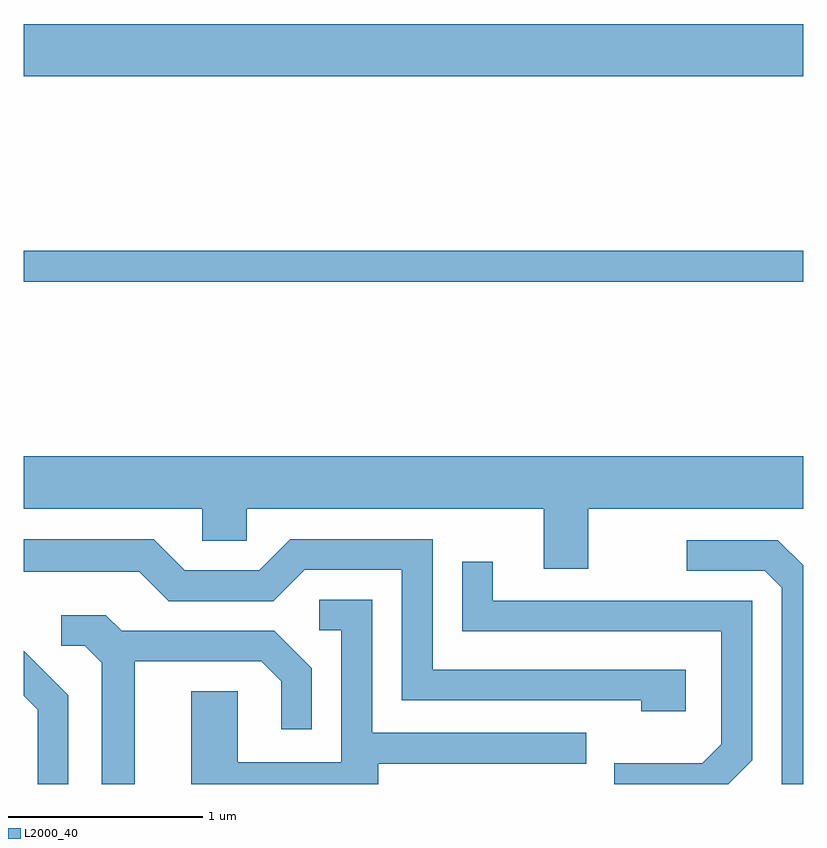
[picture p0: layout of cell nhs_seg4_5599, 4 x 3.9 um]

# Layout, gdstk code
import gdstk
lib = gdstk.Library(unit=1e-6, precision=1e-09)
def R(c, l, rs):  # rectangles x0, y0, x1, y1
    for r in rs: c.add(gdstk.rectangle(r[:2], r[2:], *l))
def P(c, l, *ps):  # polygons
    for p in ps: c.add(gdstk.Polygon(p, *l))
L2000_40 = (2000, 40)

nhs_seg4_5599 = lib.new_cell('nhs_seg4_5599')
R(nhs_seg4_5599, L2000_40, [(349.611,1302.561,353.611,1302.719), (349.611,1303.616,353.611,1303.884)])
P(nhs_seg4_5599, L2000_40, [(352.509,1301.396),(353.611,1301.396),(353.611,1301.664),(349.611,1301.664),(349.611,1301.396),(350.526,1301.396),(350.526,1301.231),(350.754,1301.231),(350.754,1301.396),(352.281,1301.396),(352.281,1301.086),(352.509,1301.086)],
  [(353.009,1300.569),(351.709,1300.569),(351.709,1301.239),(350.979,1301.239),(350.819,1301.079),(350.437,1301.079),(350.277,1301.239),(349.611,1301.239),(349.611,1301.071),(350.204,1301.071),(350.354,1300.921),(350.892,1300.921),(351.052,1301.081),(351.551,1301.081),(351.551,1300.411),(352.781,1300.411),(352.781,1300.356),(353.009,1300.356)],
  [(353.611,1301.105),(353.482,1301.234),(353.013,1301.234),(353.013,1301.076),(353.414,1301.076),(353.501,1300.989),(353.501,1299.982),(353.611,1299.982)],
  [(353.349,1300.104),(353.349,1300.924),(352.019,1300.924),(352.019,1301.123),(351.861,1301.123),(351.861,1300.766),(353.191,1300.766),(353.191,1300.187),(353.094,1300.089),(352.641,1300.089),(352.641,1299.982),(353.228,1299.982)],
  [(351.429,1300.086),(352.498,1300.086),(352.498,1300.244),(351.399,1300.244),(351.399,1300.929),(351.128,1300.929),(351.128,1300.771),(351.241,1300.771),(351.241,1300.094),(350.709,1300.094),(350.709,1300.459),(350.471,1300.459),(350.471,1299.982),(351.429,1299.982)],
  [(350.179,1300.611),(350.829,1300.611),(350.931,1300.509),(350.931,1300.263),(351.089,1300.263),(351.089,1300.577),(350.897,1300.769),(350.112,1300.769),(350.032,1300.849),(349.803,1300.849),(349.803,1300.691),(349.924,1300.691),(350.011,1300.604),(350.011,1299.982),(350.179,1299.982)],
  [(349.839,1300.437),(349.611,1300.665),(349.611,1300.434),(349.681,1300.364),(349.681,1299.982),(349.839,1299.982)])

lib.write_gds('nhs_seg4_5599.gds')
